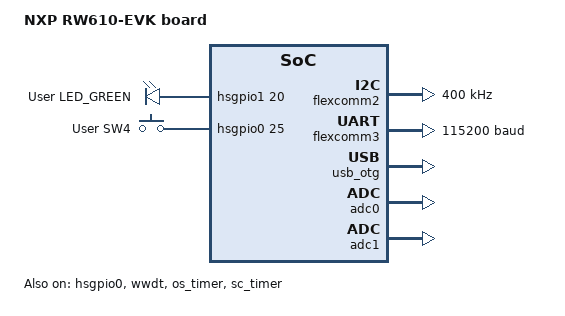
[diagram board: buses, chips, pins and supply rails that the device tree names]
/*
 * Copyright 2022 NXP
 *
 * SPDX-License-Identifier: Apache-2.0
 */

/dts-v1/;

#include <nxp/nxp_rw6xx.dtsi>
#include <zephyr/dt-bindings/input/input-event-codes.h>
#include "rdrw610_evk-pinctrl.dtsi"

/ {
	model = "NXP RW610-EVK board";
	compatible = "nxp,rw610";

	aliases {
		usart-0 = &flexcomm3;
		led0 = &green_led;
		sw0 = &sw_4;
		watchdog0 = &wwdt;
		pwm-0 = &sc_timer;
	};

	chosen {
		zephyr,sram = &sram_data;
		zephyr,flash = &flash0;
		zephyr,console = &flexcomm3;
		zephyr,shell-uart = &flexcomm3;
	};

	flash0: flash@18000000 {
		reg = <0x18000000 DT_SIZE_M(64)>;
	};

	leds {
		compatible = "gpio-leds";
		green_led: led_1 {
			gpios = <&hsgpio1 20 0>;
			label = "User LED_GREEN";
		};
	};

	gpio_keys {
		compatible = "gpio-keys";
		sw_4: sw_4 {
			label = "User SW4";
			gpios = <&hsgpio0 25 0>;
			zephyr,code = <INPUT_KEY_0>;
		};
	};
};

&flexcomm2 {
	compatible = "nxp,lpc-i2c";
	status = "okay";
	clock-frequency = <I2C_BITRATE_FAST>;
	#address-cells = <1>;
	#size-cells = <0>;
	pinctrl-0 = <&pinmux_flexcomm2_i2c>;
	pinctrl-names = "default";
};

&flexcomm3 {
	compatible = "nxp,lpc-usart";
	status = "okay";
	current-speed = <115200>;
	pinctrl-0 = <&pinmux_flexcomm3_usart>;
	pinctrl-names = "default";
};

&hsgpio0 {
	status = "okay";
};

&wwdt {
	status = "okay";
};

&os_timer {
	status = "okay";
};

zephyr_udc0: &usb_otg {
	status = "okay";
};

&adc0 {
	status = "okay";
};

&adc1 {
	status = "okay";
};

&sc_timer {
	status = "okay";
	pinctrl-0 = <&pinmux_pwm0>;
	pinctrl-names = "default";
};
